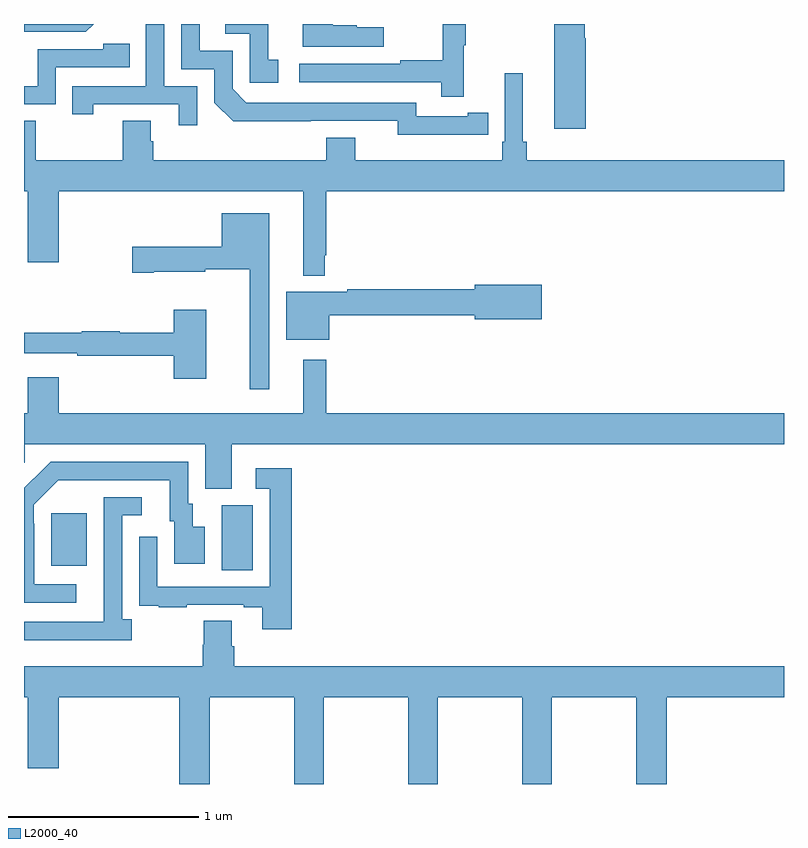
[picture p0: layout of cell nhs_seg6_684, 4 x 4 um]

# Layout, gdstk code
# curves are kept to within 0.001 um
import gdstk
lib = gdstk.Library(unit=1e-6, precision=1e-09)
def R(c, l, rs):  # rectangles x0, y0, x1, y1
    for r in rs: c.add(gdstk.rectangle(r[:2], r[2:], *l))
def P(c, l, *ps):  # polygons
    for p in ps: c.add(gdstk.Polygon(p, *l))
L2000_40 = (2000, 40)

nhs_seg6_684 = lib.new_cell('nhs_seg6_684')
R(nhs_seg6_684, L2000_40, [(154.04,994.624,154.204,994.968), (153.143,994.649,153.331,994.924)])
P(nhs_seg6_684, L2000_40, [(155.336,996.918),(155.444,996.918),(155.444,997.034),(155.336,997.034),(155.336,997.014),(155.064,997.014),(155.064,997.086),(154.17,997.086),(154.098,997.158),(154.098,997.359),(153.925,997.359),(153.925,997.5),(153.828,997.5),(153.828,997.263),(154.002,997.263),(154.002,997.086),(154.1,996.989),(154.968,996.99),(154.968,996.917)],
  [(155.315,997.387),(155.326,997.387),(155.326,997.5),(155.205,997.5),(155.205,997.31),(154.981,997.31),(154.981,997.29),(154.449,997.29),(154.449,997.194),(155.197,997.194),(155.197,997.116),(155.315,997.116)],
  [(155.956,997.425),(155.951,997.425),(155.951,997.5),(155.792,997.5),(155.792,996.948),(155.956,996.948)],
  [(154.894,997.483),(154.751,997.483),(154.751,997.493),(154.624,997.493),(154.624,997.5),(154.466,997.5),(154.466,997.379),(154.894,997.379)],
  [(154.339,997.311),(154.286,997.311),(154.286,997.5),(154.059,997.5),(154.059,997.449),(154.188,997.449),(154.188,997.191),(154.339,997.191)],
  [(153.366,997.5),(153,997.5),(153,997.458),(153.324,997.458)],
  [(153.912,997.173),(153.738,997.173),(153.738,997.5),(153.642,997.5),(153.642,997.173),(153.253,997.173),(153.253,997.026),(153.364,997.026),(153.364,997.077),(153.815,997.077),(153.815,996.966),(153.912,996.966)],
  [(153.168,997.272),(153.557,997.272),(153.557,997.395),(153.417,997.395),(153.417,997.368),(153.072,997.368),(153.072,997.173),(153,997.173),(153,997.077),(153.168,997.077)],
  [(154.584,996.283),(154.591,996.283),(154.591,996.62),(157,996.62),(157,996.784),(155.645,996.784),(155.645,996.88),(155.626,996.88),(155.626,997.24),(155.529,997.24),(155.529,996.88),(155.516,996.88),(155.516,996.784),(154.744,996.784),(154.744,996.901),(154.592,996.901),(154.592,996.784),(153.68,996.784),(153.68,996.882),(153.667,996.882),(153.667,996.992),(153.52,996.992),(153.52,996.784),(153.063,996.784),(153.063,996.992),(153,996.992),(153,996.62),(153.02,996.62),(153.02,996.246),(153.184,996.246),(153.184,996.62),(154.469,996.62),(154.469,996.176),(154.584,996.176)],
  [(154.291,996.505),(154.04,996.505),(154.04,996.327),(153.57,996.327),(153.57,996.19),(153.682,996.19),(153.682,996.197),(153.954,996.197),(153.954,996.209),(154.187,996.209),(154.187,995.577),(154.291,995.577)],
  [(154.606,995.968),(155.372,995.968),(155.372,995.945),(155.725,995.945),(155.725,996.128),(155.372,996.128),(155.372,996.104),(154.702,996.104),(154.702,996.091),(154.379,996.091),(154.379,995.837),(154.606,995.837)],
  [(153.958,995.995),(153.788,995.995),(153.788,995.875),(153.504,995.875),(153.504,995.882),(153.304,995.882),(153.304,995.875),(153,995.875),(153,995.766),(153.28,995.766),(153.28,995.754),(153.788,995.754),(153.788,995.634),(153.958,995.634)],
  [(154.093,995.288),(157,995.288),(157,995.452),(154.591,995.452),(154.591,995.734),(154.469,995.734),(154.469,995.452),(153.184,995.452),(153.184,995.641),(153.02,995.641),(153.02,995.452),(153,995.452),(153,995.19),(153.003,995.19),(153.003,995.288),(153.953,995.288),(153.953,995.053),(154.093,995.053)],
  [(153.274,994.551),(153.054,994.551),(153.054,994.871),(153.051,994.871),(153.051,994.971),(153.18,995.1),(153.767,995.1),(153.767,994.884),(153.791,994.884),(153.791,994.659),(153.952,994.659),(153.952,994.855),(153.889,994.855),(153.889,994.974),(153.864,994.974),(153.864,995.196),(153.14,995.196),(153,995.058),(153,994.455),(153.274,994.455)],
  [(154.409,995.161),(154.221,995.161),(154.221,995.055),(154.293,995.055),(154.293,994.539),(153.702,994.539),(153.702,994.801),(153.606,994.801),(153.606,994.546),(153.607,994.546),(153.607,994.437),(153.709,994.437),(153.709,994.431),(153.857,994.431),(153.857,994.443),(154.157,994.443),(154.157,994.431),(154.253,994.431),(154.253,994.314),(154.409,994.314)],
  [(153.568,994.366),(153.516,994.366),(153.516,994.914),(153.619,994.914),(153.619,995.01),(153.42,995.01),(153.42,994.553),(153.419,994.553),(153.419,994.353),(153,994.353),(153,994.256),(153.568,994.256)],
  [(153.978,993.956),(154.423,993.956),(154.423,993.5),(154.578,993.5),(154.578,993.956),(155.023,993.956),(155.023,993.5),(155.178,993.5),(155.178,993.956),(155.623,993.956),(155.623,993.5),(155.778,993.5),(155.778,993.956),(156.223,993.956),(156.223,993.5),(156.383,993.5),(156.383,993.956),(157,993.956),(157,994.12),(154.106,994.12),(154.106,994.226),(154.093,994.226),(154.093,994.358),(153.946,994.358),(153.946,994.233),(153.941,994.233),(153.941,994.12),(153,994.12),(153,993.956),(153.02,993.956),(153.02,993.582),(153.184,993.582),(153.184,993.956),(153.818,993.956),(153.818,993.5),(153.978,993.5)])

lib.write_gds('nhs_seg6_684.gds')
